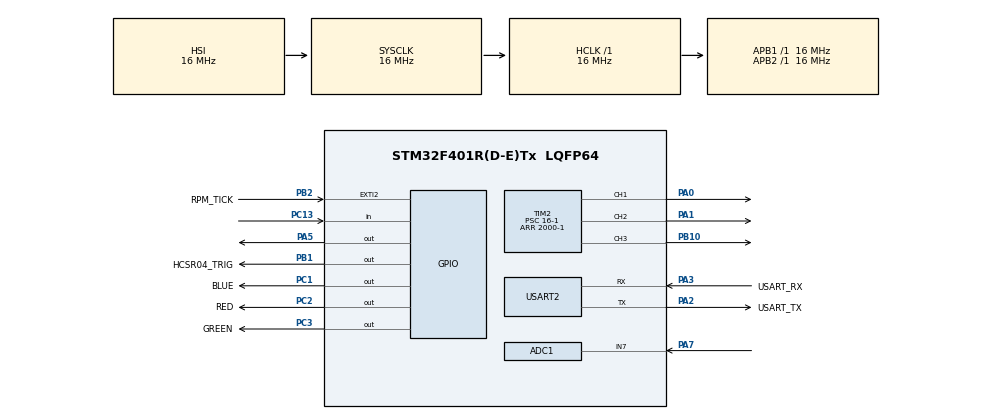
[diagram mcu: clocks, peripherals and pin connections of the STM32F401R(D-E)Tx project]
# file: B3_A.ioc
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ADC1.Channel-0\#ChannelRegularConversion=ADC_CHANNEL_7
ADC1.NbrOfConversionFlag=1
ADC1.Rank-0\#ChannelRegularConversion=1
ADC1.Resolution=ADC_RESOLUTION_8B
ADC1.SamplingTime-0\#ChannelRegularConversion=ADC_SAMPLETIME_3CYCLES
ADC1.ScanConvMode=ENABLE
ADC1.master=1
Mcu.Family=STM32F4
Mcu.Name=STM32F401R(D-E)Tx
Mcu.Package=LQFP64
NVIC.PriorityGroup=NVIC_PRIORITYGROUP_4
NVIC.TIM5_IRQn=true\:0\:0\:false\:false\:true\:true\:true\:true
NVIC.USART2_IRQn=true\:0\:0\:false\:false\:true\:true\:true\:true
PA0-WKUP.Signal=S_TIM2_CH1_ETR
PA1.Signal=S_TIM2_CH2
PA13.GPIO_Label=TMS
PA13.Mode=Trace_Asynchronous_SW
PA13.Signal=SYS_JTMS-SWDIO
PA14.GPIO_Label=TCK
PA14.Mode=Trace_Asynchronous_SW
PA14.Signal=SYS_JTCK-SWCLK
PA2.GPIO_Label=USART_TX
PA2.GPIO_Mode=GPIO_MODE_AF_PP
PA2.GPIO_PuPd=GPIO_NOPULL
PA2.GPIO_Speed=GPIO_SPEED_FREQ_LOW
PA2.Mode=Asynchronous
PA2.Signal=USART2_TX
PA3.GPIO_Label=USART_RX
PA3.GPIO_Mode=GPIO_MODE_AF_PP
PA3.GPIO_PuPd=GPIO_NOPULL
PA3.GPIO_Speed=GPIO_SPEED_FREQ_LOW
PA3.Mode=Asynchronous
PA3.Signal=USART2_RX
PA5.Signal=GPIO_Output
PA7.Signal=ADCx_IN7
PB1.GPIO_Label=HCSR04_TRIG
PB1.Signal=GPIO_Output
PB10.Signal=S_TIM2_CH3
PB2.GPIO_Label=RPM_TICK
PB2.Signal=GPXTI2
PB3.GPIO_Label=SWO
PB3.Mode=Trace_Asynchronous_SW
PB3.Signal=SYS_JTDO-SWO
PC1.GPIO_Label=BLUE
PC1.Signal=GPIO_Output
PC13-ANTI_TAMP.Signal=GPIO_Input
PC14-OSC32_IN.Mode=LSE-External-Oscillator
PC14-OSC32_IN.Signal=RCC_OSC32_IN
PC15-OSC32_OUT.Mode=LSE-External-Oscillator
PC15-OSC32_OUT.Signal=RCC_OSC32_OUT
PC2.GPIO_Label=RED
PC2.Signal=GPIO_Output
PC3.GPIO_Label=GREEN
PC3.Signal=GPIO_Output
PH0\ -\ OSC_IN.Mode=HSE-External-Clock-Source
PH0\ -\ OSC_IN.Signal=RCC_OSC_IN
PH1\ -\ OSC_OUT.Mode=HSE-External-Clock-Source
PH1\ -\ OSC_OUT.Signal=RCC_OSC_OUT
ProjectManager.HeapSize=0x200
ProjectManager.StackSize=0x400
ProjectManager.TargetToolchain=STM32CubeIDE
RCC.48MHZClocksFreq_Value=48000000
RCC.AHBFreq_Value=16000000
RCC.APB1Freq_Value=16000000
RCC.APB1TimFreq_Value=16000000
RCC.APB2Freq_Value=16000000
RCC.APB2TimFreq_Value=16000000
RCC.CortexFreq_Value=16000000
RCC.HCLKFreq_Value=16000000
RCC.HSE_VALUE=8000000
RCC.HSI_VALUE=16000000
RCC.PLLN=336
RCC.PLLP=RCC_PLLP_DIV4
RCC.PLLQ=7
RCC.SYSCLKFreq_VALUE=16000000
RCC.VCOOutputFreq_Value=336000000
SH.ADCx_IN7.0=ADC1_IN7,IN7
SH.S_TIM2_CH1_ETR.0=TIM2_CH1,PWM Generation1 CH1
SH.S_TIM2_CH2.0=TIM2_CH2,PWM Generation2 CH2
SH.S_TIM2_CH3.0=TIM2_CH3,PWM Generation3 CH3
TIM2.AutoReloadPreload=TIM_AUTORELOAD_PRELOAD_ENABLE
TIM2.Channel-PWM\ Generation1\ CH1=TIM_CHANNEL_1
TIM2.Channel-PWM\ Generation2\ CH2=TIM_CHANNEL_2
TIM2.Channel-PWM\ Generation3\ CH3=TIM_CHANNEL_3
TIM2.Period=2000-1
TIM2.Prescaler=16-1
TIM5.AutoReloadPreload=TIM_AUTORELOAD_PRELOAD_ENABLE
TIM5.Period=1000-1
TIM5.Prescaler=(16000-1)/300
USART2.VirtualMode=VM_ASYNC
VP_TIM2_VS_ClockSourceINT.Mode=Internal
VP_TIM5_VS_ClockSourceINT.Mode=Internal
board=NUCLEO-F401RE

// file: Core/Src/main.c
/* USER CODE BEGIN Header */
/**
  ******************************************************************************
  * @file           : main.c
  * @brief          : Main program body
  ******************************************************************************
  * @attention
  *
  * Copyright (c) 2025 STMicroelectronics.
  * All rights reserved.
  *
  * This software is licensed under terms that can be found in the LICENSE file
  * in the root directory of this software component.
  * If no LICENSE file comes with this software, it is provided AS-IS.
  *
  ******************************************************************************
  */
/* USER CODE END Header */
#include "main.h"

/* USER CODE BEGIN Includes */
volatile uint32_t rpm_tick_count = 0;
volatile uint32_t last_tick_time = 0;
volatile uint32_t rpm_tick_count_diff = 0;
volatile uint32_t rpm = 0;

/* USER CODE END Includes */

/* USER CODE BEGIN PD */
uint8_t byte;

uint8_t hour[2]; // Buffer for two characters of the hour
/* USER CODE END PD */

ADC_HandleTypeDef hadc1;

TIM_HandleTypeDef htim2;
TIM_HandleTypeDef htim5;

UART_HandleTypeDef huart2;

/* USER CODE BEGIN PV */

volatile uint8_t clock_hours = 0;
volatile uint8_t clock_mins = 0;
volatile uint8_t clock_secs = 0;
volatile uint8_t wall_clock_hr_update_flag = 0;

int pipeline_stage = 0;  // Current pipeline stage
int pipeline_positions[] = {1000, 1500, 2000, 2500};

uint8_t txd_msg_buffer[64] = {0};
/* USER CODE END PV */

void SystemClock_Config(void);
static void MX_GPIO_Init(void);
static void MX_USART2_UART_Init(void);
static void MX_TIM2_Init(void);
static void MX_ADC1_Init(void);
static void MX_TIM5_Init(void);
/* USER CODE BEGIN PFP */

static void ADC_Select_CH(int CH);
/* USER CODE END PFP */

/* USER CODE BEGIN 0 */
void ADC_Select_CH(int CH)
{
ADC_ChannelConfTypeDef sConfig = {0};
switch(CH)
{
case 0:
sConfig.Channel = ADC_CHANNEL_0;
sConfig.Rank = 1;
if (HAL_ADC_ConfigChannel(&hadc1, &sConfig) != HAL_OK)
{
Error_Handler();
}
break;
case 1:
sConfig.Channel = ADC_CHANNEL_1;
sConfig.Rank = 1;
if (HAL_ADC_ConfigChannel(&hadc1, &sConfig) != HAL_OK)
{
Error_Handler();
}
break;
case 2:
sConfig.Channel = ADC_CHANNEL_2;
sConfig.Rank = 1;
if (HAL_ADC_ConfigChannel(&hadc1, &sConfig) != HAL_OK)
{
Error_Handler();
}
break;
case 3:
sConfig.Channel = ADC_CHANNEL_3;
sConfig.Rank = 1;
if (HAL_ADC_ConfigChannel(&hadc1, &sConfig) != HAL_OK)
{
Error_Handler();
}
break;
case 4:
sConfig.Channel = ADC_CHANNEL_4;
sConfig.Rank = 1;
if (HAL_ADC_ConfigChannel(&hadc1, &sConfig) != HAL_OK)
{
Error_Handler();
}
break;
case 5:
sConfig.Channel = ADC_CHANNEL_5;
sConfig.Rank = 1;
if (HAL_ADC_ConfigChannel(&hadc1, &sConfig) != HAL_OK)
{
Error_Handler();
}
break;
case 6:
sConfig.Channel = ADC_CHANNEL_6;
sConfig.Rank = 1;
if (HAL_ADC_ConfigChannel(&hadc1, &sConfig) != HAL_OK)
{
Error_Handler();
}
break;
case 7:
sConfig.Channel = ADC_CHANNEL_7;
sConfig.Rank = 1;
if (HAL_ADC_ConfigChannel(&hadc1, &sConfig) != HAL_OK)
{
Error_Handler();
}
break;
case 8:
sConfig.Channel = ADC_CHANNEL_8;
sConfig.Rank = 1;
if (HAL_ADC_ConfigChannel(&hadc1, &sConfig) != HAL_OK)
{
Error_Handler();
}
break;
case 9:
sConfig.Channel = ADC_CHANNEL_9;
sConfig.Rank = 1;
if (HAL_ADC_ConfigChannel(&hadc1, &sConfig) != HAL_OK)
{
Error_Handler();
}
break;
case 10:
sConfig.Channel = ADC_CHANNEL_10;
sConfig.Rank = 1;
if (HAL_ADC_ConfigChannel(&hadc1, &sConfig) != HAL_OK)
{
Error_Handler();
}
break;
case 11:
sConfig.Channel = ADC_CHANNEL_11;
sConfig.Rank = 1;
if (HAL_ADC_ConfigChannel(&hadc1, &sConfig) != HAL_OK)
{
Error_Handler();
}
break;
case 12:
sConfig.Channel = ADC_CHANNEL_12;
sConfig.Rank = 1;
if (HAL_ADC_ConfigChannel(&hadc1, &sConfig) != HAL_OK)
{
Error_Handler();
}
break;
case 13:
sConfig.Channel = ADC_CHANNEL_13;
sConfig.Rank = 1;
if (HAL_ADC_ConfigChannel(&hadc1, &sConfig) != HAL_OK)
{
Error_Handler();
}
break;
case 14:
sConfig.Channel = ADC_CHANNEL_14;
sConfig.Rank = 1;
if (HAL_ADC_ConfigChannel(&hadc1, &sConfig) != HAL_OK)
{
Error_Handler();
}
break;
case 15:
sConfig.Channel = ADC_CHANNEL_15;
sConfig.Rank = 1;
if (HAL_ADC_ConfigChannel(&hadc1, &sConfig) != HAL_OK)
{
Error_Handler();
}
break;
}
}

int ADC_poll(){

	ADC_Select_CH(7);
	  HAL_ADC_Start(&hadc1);
	  HAL_ADC_PollForConversion(&hadc1, 1000);
	  uint8_t ADC_CH7 = HAL_ADC_GetValue(&hadc1);
	  HAL_ADC_Stop(&hadc1);
	return ADC_CH7;
}

//0 = purple, 1 = red, 2 = green, 3 = blue
void setledpin(int channel){
	switch(channel){
	case 0:
		HAL_GPIO_WritePin(RED_GPIO_Port, RED_Pin | BLUE_Pin | GREEN_Pin, GPIO_PIN_RESET);
		HAL_GPIO_WritePin(RED_GPIO_Port, RED_Pin | BLUE_Pin, GPIO_PIN_SET);
		break;
	case 1:
		HAL_GPIO_WritePin(RED_GPIO_Port, RED_Pin | BLUE_Pin | GREEN_Pin, GPIO_PIN_RESET);
		HAL_GPIO_WritePin(RED_GPIO_Port, RED_Pin, GPIO_PIN_SET);
		break;
	case 2:
		HAL_GPIO_WritePin(RED_GPIO_Port, RED_Pin | BLUE_Pin | GREEN_Pin, GPIO_PIN_RESET);
		HAL_GPIO_WritePin(RED_GPIO_Port, GREEN_Pin, GPIO_PIN_SET);
		break;
	case 3:
		HAL_GPIO_WritePin(RED_GPIO_Port, RED_Pin | BLUE_Pin | GREEN_Pin, GPIO_PIN_RESET);
		HAL_GPIO_WritePin(RED_GPIO_Port, BLUE_Pin, GPIO_PIN_SET);
		break;
	default:
		//error (only happens if channel val>3).
		HAL_GPIO_WritePin(RED_GPIO_Port, RED_Pin | BLUE_Pin | GREEN_Pin, GPIO_PIN_RESET);
		//HAL_GPIO_WritePin(RED_GPIO_Port, BLUE_Pin|RED_Pin|GREEN_Pin, GPIO_PIN_SET);
		break;
	}
}

void pipeMeter(int channel) {
	TIM2->CCR1 = pipeline_positions[channel];
}

uint8_t rcv_intpt_flag = 0;
void get_rpm(void) {
    // Calculate RPM only if we have more than 1 tick (at least 1 full rotation)
    if (rpm_tick_count >= 20) {  // Only calculate RPM once 20 ticks have been counted
        uint32_t current_time = HAL_GetTick();  // Current time in ms
        rpm_tick_count_diff = current_time - last_tick_time;  // Time difference in ms

        // Calculate RPM if the time difference is valid
        if (rpm_tick_count_diff > 0) {
            // RPM = (60,000 ms per minute) / (time for 1 full rotation in ms)
            rpm = 60000 / (rpm_tick_count_diff);  // Divide by 20 to account for 20 slots per rotation
        } else {
        	rpm = 0;
        }

        // Update the last tick time
        last_tick_time = current_time;

        // Reset the tick count for the next calculation cycle
        rpm_tick_count = 0;
    }

}
/* USER CODE END 0 */

int main(void)
{

  /* MCU Configuration--------------------------------------------------------*/

  /* Reset of all peripherals, Initializes the Flash interface and the Systick. */
  HAL_Init();

  /* Configure the system clock */
  SystemClock_Config();

  /* Initialize all configured peripherals */
  MX_GPIO_Init();
  MX_USART2_UART_Init();
  MX_TIM2_Init();
  MX_ADC1_Init();
  MX_TIM5_Init();
  /* USER CODE BEGIN 2 */
  HAL_TIM_Base_Init(&htim2);
  	HAL_TIM_PWM_Start(&htim2, TIM_CHANNEL_1);
    HAL_TIM_PWM_Start(&htim2, TIM_CHANNEL_2);
    HAL_TIM_PWM_Start(&htim2, TIM_CHANNEL_3);
    int TIM2_Ch1_DCVAL = 500;
    int TIM2_Ch1_STEP = 20;

    TIM2->PSC = 16-1;
    TIM2->ARR = 20000-1;
    TIM2->CCR1 = TIM2_Ch1_DCVAL;
    TIM2->CCR2 = 0;
    TIM2->CCR3 = 0;
    int TIM2_Ch2_DCVAL = 0;
    int TIM2_Ch3_DCVAL = 0;

  /* USER CODE END 2 */

  /* Infinite loop */
  /* USER CODE BEGIN WHILE */
  while (1)
  {

	  pipeMeter(0);
	  	  sprintf((char*)txd_msg_buffer, "\r\nEnter SETUP Parameters\r\n");
	  	  HAL_UART_Transmit(&huart2,txd_msg_buffer, strlen((char*)txd_msg_buffer), 1000);
	  	  //SETUP MODE BEGIN
	  	  uint8_t pipes[4];
	  	  int pumpPwms[4] = {0, 0, 0, 0};
	  	  int pwmSelect[4] = {0, 75, 85, 99};
	  	  int pwmRatios[4] = {0, 0, 0, 0};
	  	  int first_hours[4] = {0, 0, 0, 0};
	  	  int last_hours[4] = {0, 0, 0, 0};

	  	  //Get setup params
	  	  for(int i = 0; i < 4; i++) {
	  		  sprintf((char*)txd_msg_buffer, "\r\nPIPELINE (options: 0 to 3): ");
	  		  rcv_intpt_flag = 00;
	  		  HAL_UART_Receive_IT(&huart2,&byte,1);
	  		  HAL_UART_Transmit(&huart2,txd_msg_buffer, strlen((char*)txd_msg_buffer), 1000);
	  		  while(rcv_intpt_flag == (00)) {}
	  		  pipes[i] = byte - 48;
	  		  uint8_t pipeSelect = byte - 48;

	  		  sprintf((char*)txd_msg_buffer, "\r\nPump PWM (options 0 to 3): ");
	  		  rcv_intpt_flag = 00;
	  		  HAL_UART_Receive_IT(&huart2,&byte,1);
	  		  HAL_UART_Transmit(&huart2,txd_msg_buffer, strlen((char*)txd_msg_buffer), 1000);
	  		  while(rcv_intpt_flag == (00)) {}
	  		  pumpPwms[pipeSelect] = byte - 48;
	  		  pwmRatios[pipeSelect] = pwmSelect[byte - 48];
	  	  }
	  	  //sprintf((char*)txd_msg_buffer, "\r\nLOOP DONE %lu", byte - 48);
	  	   //HAL_UART_Transmit(&huart2,txd_msg_buffer, strlen((char*)txd_msg_buffer), 1000);

	  	  int pipe_times[4][3]; //4 slot array of 3 slot arrays
	  	  //each 3 slot array is of form: CHANNEL NAME, START TIME, END TIME

	  	  for(int i = 0; i < 4; i ++) {
	  	      int time_info[3];
	  	      time_info[0] = i;

	  		  sprintf((char*)txd_msg_buffer, "\r\nPipeline %d Pump FIRST HOUR (options: 00 to 23):  ", i);

	  			  HAL_UART_Transmit(&huart2,txd_msg_buffer, strlen((char*)txd_msg_buffer), 1000);
	  			  rcv_intpt_flag = 00;
	  			  HAL_UART_Receive_IT(&huart2,&byte,1);
	  			  while(rcv_intpt_flag == (00)) {}
	  			  first_hours[i] += (byte - 48) * 10;
	  			  time_info[1] = (byte - 48) * 10;

	  			  rcv_intpt_flag = 00;
	  			  HAL_UART_Receive_IT(&huart2,&byte,1);
	  			  while(rcv_intpt_flag == (00)) {}
	  			  first_hours[i] += byte - 48;
	  			  time_info[1] += byte - 48;

	  	        sprintf((char*)txd_msg_buffer, "\r\nPipeline %d Pump LAST HOUR (options: 00 to 23):  ", i);

	  			HAL_UART_Transmit(&huart2,txd_msg_buffer, strlen((char*)txd_msg_buffer), 1000);
	  	        rcv_intpt_flag = 00;
	  	        HAL_UART_Receive_IT(&huart2,&byte,1);
	  	        while(rcv_intpt_flag == (00)) {}
	  	        last_hours[i] = (byte - 48) * 10;
	  	        time_info[2] = (byte - 48) * 10;

	  	        rcv_intpt_flag = 00;
	  	        HAL_UART_Receive_IT(&huart2,&byte,1);
	  	        while(rcv_intpt_flag == (00)) {}
	  	        last_hours[i] += byte - 48;
	  			time_info[2] += byte - 48;

	  			memcpy(pipe_times[i], time_info, sizeof(time_info));
	  	        // You can use 'hour' for further processing, like validation or calculation
	  	    }
	  /*
	  	  for(int i = 0; i < 4; i++) {
	  	  		sprintf((char*)txd_msg_buffer, "\r\npipe %d, start: %d, end %d\r\n", pipe_times[i][0], pipe_times[i][1], pipe_times[i][2]);
	  	  		HAL_UART_Transmit(&huart2,txd_msg_buffer, strlen((char*)txd_msg_buffer), 1000);
	  	  	  }
	  */
	  	  //sort pipe_times
	  	  for(int i = 0; i < 3; i++) {
	  		  for(int j = i; j < 3; j ++) {
	  			  if(pipe_times[j][1] > pipe_times[j + 1][1]) {
	  				  int temp[3];
	  				  memcpy(temp, pipe_times[j], sizeof(pipe_times[j]));
	  				  memcpy(pipe_times[j], pipe_times[j + 1], sizeof(pipe_times[j + 1]));
	  				  memcpy(pipe_times[j + 1], temp, sizeof(temp));
	  			  }
	  		  }
	  	  }

	  /*
	  	  for(int i = 0; i < 4; i++) {
	  	  	  		sprintf((char*)txd_msg_buffer, "pipe %d, start: %d, end %d\r\n", pipe_times[i][0], pipe_times[i][1], pipe_times[i][2]);
	  	  	  		HAL_UART_Transmit(&huart2,txd_msg_buffer, strlen((char*)txd_msg_buffer), 1000);
	  	  	  	  }
	  */
	  	   sprintf((char*)txd_msg_buffer, "\r\n\r\n			Printing SETUP Parameters\r\n\r\n\r\n");
	  	   HAL_UART_Transmit(&huart2,txd_msg_buffer, strlen((char*)txd_msg_buffer), 1000);
	  	   for(int i = 0; i < 4; i++) {

	  	       sprintf((char*)txd_msg_buffer, "PIPELINE: %d    		Pump PWM: %d    		", i, pumpPwms[i]);
	  	       HAL_UART_Transmit(&huart2, txd_msg_buffer, strlen((char*)txd_msg_buffer), 1000);
	  	       sprintf((char*)txd_msg_buffer, "Pump FIRST HOUR: %d    		Pump LAST HOUR: %d\r\n",first_hours[i], last_hours[i]);
	  	       HAL_UART_Transmit(&huart2, txd_msg_buffer, strlen((char*)txd_msg_buffer), 1000);
	  	   }

	  		  sprintf((char*)txd_msg_buffer, "\r\n\r\nSETUP is done. Press Blue Button for RUN MODE");
	  		  	   HAL_UART_Transmit(&huart2,txd_msg_buffer, strlen((char*)txd_msg_buffer), 1000);

	  		  	   GPIO_PinState buttonState = HAL_GPIO_ReadPin(GPIOC, GPIO_PIN_13);
	  		  	   volatile int flag = GPIO_PIN_SET;
	  		  	   while(buttonState != GPIO_PIN_RESET) {
	  		  		   buttonState = HAL_GPIO_ReadPin(GPIOC, GPIO_PIN_13);
	  		  		   if(flag == GPIO_PIN_SET) {
	  		  			   HAL_GPIO_WritePin(GPIOA, GPIO_PIN_5, GPIO_PIN_SET);
	  		  			   flag = GPIO_PIN_RESET;
	  		  		   } else {
	  		  			   HAL_GPIO_WritePin(GPIOA, GPIO_PIN_5, GPIO_PIN_RESET);
	  		  			   flag = GPIO_PIN_SET;
	  		  		   }
	  		  		   HAL_Delay(125);
	  		  	   }
	  		  	   int zeroRatio = ADC_poll() * 100 / 233;

	  		  	   for(int i = 0; i < 4; i++) {
	  		  		   if(pwmRatios[i] == 0) {
	  		  			 pwmRatios[i] = zeroRatio;
	  		  		   }
	  		  	   }

	  		  	   HAL_GPIO_WritePin(GPIOA, GPIO_PIN_5, GPIO_PIN_SET);
	  		  	   sprintf((char*)txd_msg_buffer, "\r\n\r\n\r\n			RUN MODE\r\n");
	  		  	   	   HAL_UART_Transmit(&huart2,txd_msg_buffer, strlen((char*)txd_msg_buffer), 1000);
	  		  	   // SETUP MODE END

	  		  	   // RUN MODE START
	  		  	   	   for(int i = 0; i < 4; i++) {
	  		  	   		sprintf((char*)txd_msg_buffer, "pwmRatios[%d] = %d\r\n", i, pwmRatios[i]);
	  		  	   		HAL_UART_Transmit(&huart2,txd_msg_buffer, strlen((char*)txd_msg_buffer), 1000);
	  		  	   	   }
	  		  	   sprintf((char*)txd_msg_buffer, "\r\n CLOCK : PIPE : PWM : RPM : DEPTH :\r\n");
	  		  	   HAL_UART_Transmit(&huart2,txd_msg_buffer, strlen((char*)txd_msg_buffer), 1000);
	  		  	   sprintf((char*)txd_msg_buffer, "---------------------------------------------\r\n");
	  		  	   	   HAL_UART_Transmit(&huart2,txd_msg_buffer, strlen((char*)txd_msg_buffer), 1000);

	  		  	       clock_hours = 0;
	  		  	       clock_mins = 0;
	  		  	       clock_secs = 0;
	  			  	   HAL_TIM_Base_Start_IT(&htim5);
	  			  	   int current = 0;
	  			  	 TIM2->CCR3 = 600 * pwmRatios[0];
	  			  	 setledpin(0);
	  		  	   	while(clock_hours <= 26) {
	  		  	   	get_rpm();
	  			  	   	if(wall_clock_hr_update_flag && clock_mins == 0 && clock_hours < 26 && clock_secs == 0) {
	  			  	   			  sprintf((char*)txd_msg_buffer, " %d	:", clock_hours - 1);
	  			  	   			  HAL_UART_Transmit(&huart2, txd_msg_buffer, strlen((char*)txd_msg_buffer), 1000);
	  			  	   			  wall_clock_hr_update_flag = 0;

	  			  	   			  int current_channel = pipe_times[current][0];
	  			  	   			  int is_invalid = 0;
	  			  	   			  if(clock_hours - 1 >= pipe_times[current][1] && clock_hours - 1<= pipe_times[current][2]) {
	  				  	   			  sprintf((char*)txd_msg_buffer, "	%d  :", pipe_times[current][0]);
	  				  	   			  HAL_UART_Transmit(&huart2, txd_msg_buffer, strlen((char*)txd_msg_buffer), 1000);
	  				  	   			  //TIM2->CCR2 = 600 * pwmSelect[pipe_times[current][0]];
	  			  	   			  } else if(clock_hours - 1>= pipe_times[current + 1][1] && clock_hours <= pipe_times[3][2]) {
	  				  	   			  //sprintf((char*)txd_msg_buffer, "WE ARE MOVING TO THE NEXT PIPE\r\n");
	  				  	   			  //HAL_UART_Transmit(&huart2, txd_msg_buffer, strlen((char*)txd_msg_buffer), 1000);
	  			  	   				  TIM2->CCR3 = 0;
	  			  	   				  current++;
	  			  	   				current_channel = pipe_times[current][0];
	  				  	   			  sprintf((char*)txd_msg_buffer, "	%d  :", pipe_times[current][0]);
	  				  	   			  TIM2->CCR2 = 600 * pwmRatios[pipe_times[current][0]];
	  				  	   			  HAL_UART_Transmit(&huart2, txd_msg_buffer, strlen((char*)txd_msg_buffer), 1000);
	  				  	   			  setledpin(current_channel);
	  				  	   			  pipeMeter(current_channel);
	  			  	   			  } else {
	  				  	   			  sprintf((char*)txd_msg_buffer, "	   :", pipe_times[current][0]);
	  				  	   			  HAL_UART_Transmit(&huart2, txd_msg_buffer, strlen((char*)txd_msg_buffer), 1000);
	  				  	   			  is_invalid++;
	  				  	   			  TIM2->CCR3 = 0;
	  				  	   			  TIM2->CCR2 = 0;
	  				  	   			  setledpin(4);
	  			  	   			  }
	  			  	   			  //get_rpm();

	  			  	   			if(!is_invalid) {
	  				  	   			sprintf((char*)txd_msg_buffer, "  %d  :\r\n", pumpPwms[current_channel]);
	  				  	   			HAL_UART_Transmit(&huart2, txd_msg_buffer, strlen((char*)txd_msg_buffer), 1000);
	  			  	   			} else {
	  				  	   			sprintf((char*)txd_msg_buffer, "     :\r\n", pumpPwms[current_channel]);
	  				  	   			HAL_UART_Transmit(&huart2, txd_msg_buffer, strlen((char*)txd_msg_buffer), 1000);

	  			  	   			}
	  			  	   		sprintf((char*)txd_msg_buffer, " We have CCR2 value of: %d, PWM Percentage: %d\r\n", TIM2->CCR2, pwmRatios[pipe_times[current][0]]);
	  			  	   		HAL_UART_Transmit(&huart2, txd_msg_buffer, strlen((char*)txd_msg_buffer), 1000);
	  			  	   		if(is_invalid) {
	  			  	   			rpm = 0;
	  			  	   		} else {
	  				  	   		//get_rpm();
	  			  	   		}
	  				        sprintf((char*)txd_msg_buffer, " Current RPM: %lu \r \n", rpm);
	  				        HAL_UART_Transmit(&huart2, txd_msg_buffer, strlen((char*)txd_msg_buffer), 1000);

	  			  	   	}

	  		  	   	}
	  		  	   	TIM2->CCR2 = 0;
	  		  	   	pipeMeter(0);
	    	   			sprintf((char*)txd_msg_buffer, "\r\n\r\n     irrigation complete \r\n");
	    	   			HAL_UART_Transmit(&huart2, txd_msg_buffer, strlen((char*)txd_msg_buffer), 1000);

	    	   			while(1) {};
    /* USER CODE END WHILE */

  }
}

void SystemClock_Config(void)
{
  RCC_OscInitTypeDef RCC_OscInitStruct = {0};
  RCC_ClkInitTypeDef RCC_ClkInitStruct = {0};

  /** Configure the main internal regulator output voltage
  */
  __HAL_RCC_PWR_CLK_ENABLE();
  __HAL_PWR_VOLTAGESCALING_CONFIG(PWR_REGULATOR_VOLTAGE_SCALE2);

  /** Initializes the RCC Oscillators according to the specified parameters
  * in the RCC_OscInitTypeDef structure.
  */
  RCC_OscInitStruct.OscillatorType = RCC_OSCILLATORTYPE_HSI;
  RCC_OscInitStruct.HSIState = RCC_HSI_ON;
  RCC_OscInitStruct.HSICalibrationValue = RCC_HSICALIBRATION_DEFAULT;
  RCC_OscInitStruct.PLL.PLLState = RCC_PLL_NONE;
  if (HAL_RCC_OscConfig(&RCC_OscInitStruct) != HAL_OK)
  {
    Error_Handler();
  }

  /** Initializes the CPU, AHB and APB buses clocks
  */
  RCC_ClkInitStruct.ClockType = RCC_CLOCKTYPE_HCLK|RCC_CLOCKTYPE_SYSCLK
                              |RCC_CLOCKTYPE_PCLK1|RCC_CLOCKTYPE_PCLK2;
  RCC_ClkInitStruct.SYSCLKSource = RCC_SYSCLKSOURCE_HSI;
  RCC_ClkInitStruct.AHBCLKDivider = RCC_SYSCLK_DIV1;
  RCC_ClkInitStruct.APB1CLKDivider = RCC_HCLK_DIV1;
  RCC_ClkInitStruct.APB2CLKDivider = RCC_HCLK_DIV1;

  if (HAL_RCC_ClockConfig(&RCC_ClkInitStruct, FLASH_LATENCY_0) != HAL_OK)
  {
    Error_Handler();
  }
}

static void MX_ADC1_Init(void)
{

  ADC_ChannelConfTypeDef sConfig = {0};

  /** Configure the global features of the ADC (Clock, Resolution, Data Alignment and number of conversion)
  */
  hadc1.Instance = ADC1;
  hadc1.Init.ClockPrescaler = ADC_CLOCK_SYNC_PCLK_DIV2;
  hadc1.Init.Resolution = ADC_RESOLUTION_8B;
  hadc1.Init.ScanConvMode = ENABLE;
  hadc1.Init.ContinuousConvMode = DISABLE;
  hadc1.Init.DiscontinuousConvMode = DISABLE;
  hadc1.Init.ExternalTrigConvEdge = ADC_EXTERNALTRIGCONVEDGE_NONE;
  hadc1.Init.ExternalTrigConv = ADC_SOFTWARE_START;
  hadc1.Init.DataAlign = ADC_DATAALIGN_RIGHT;
  hadc1.Init.NbrOfConversion = 1;
  hadc1.Init.DMAContinuousRequests = DISABLE;
  hadc1.Init.EOCSelection = ADC_EOC_SINGLE_CONV;
  if (HAL_ADC_Init(&hadc1) != HAL_OK)
  {
    Error_Handler();
  }

  /** Configure for the selected ADC regular channel its corresponding rank in the sequencer and its sample time.
  */
  sConfig.Channel = ADC_CHANNEL_7;
  sConfig.Rank = 1;
  sConfig.SamplingTime = ADC_SAMPLETIME_3CYCLES;
  if (HAL_ADC_ConfigChannel(&hadc1, &sConfig) != HAL_OK)
  {
    Error_Handler();
  }

}

static void MX_TIM2_Init(void)
{

  TIM_ClockConfigTypeDef sClockSourceConfig = {0};
  TIM_MasterConfigTypeDef sMasterConfig = {0};
  TIM_OC_InitTypeDef sConfigOC = {0};

  htim2.Instance = TIM2;
  htim2.Init.Prescaler = 16-1;
  htim2.Init.CounterMode = TIM_COUNTERMODE_UP;
  htim2.Init.Period = 2000-1;
  htim2.Init.ClockDivision = TIM_CLOCKDIVISION_DIV1;
  htim2.Init.AutoReloadPreload = TIM_AUTORELOAD_PRELOAD_ENABLE;
  if (HAL_TIM_Base_Init(&htim2) != HAL_OK)
  {
    Error_Handler();
  }
  sClockSourceConfig.ClockSource = TIM_CLOCKSOURCE_INTERNAL;
  if (HAL_TIM_ConfigClockSource(&htim2, &sClockSourceConfig) != HAL_OK)
  {
    Error_Handler();
  }
  if (HAL_TIM_PWM_Init(&htim2) != HAL_OK)
  {
    Error_Handler();
  }
  sMasterConfig.MasterOutputTrigger = TIM_TRGO_RESET;
  sMasterConfig.MasterSlaveMode = TIM_MASTERSLAVEMODE_DISABLE;
  if (HAL_TIMEx_MasterConfigSynchronization(&htim2, &sMasterConfig) != HAL_OK)
  {
    Error_Handler();
  }
  sConfigOC.OCMode = TIM_OCMODE_PWM1;
  sConfigOC.Pulse = 0;
  sConfigOC.OCPolarity = TIM_OCPOLARITY_HIGH;
  sConfigOC.OCFastMode = TIM_OCFAST_DISABLE;
  if (HAL_TIM_PWM_ConfigChannel(&htim2, &sConfigOC, TIM_CHANNEL_1) != HAL_OK)
  {
    Error_Handler();
  }
  if (HAL_TIM_PWM_ConfigChannel(&htim2, &sConfigOC, TIM_CHANNEL_2) != HAL_OK)
  {
    Error_Handler();
  }
  if (HAL_TIM_PWM_ConfigChannel(&htim2, &sConfigOC, TIM_CHANNEL_3) != HAL_OK)
  {
    Error_Handler();
  }
  HAL_TIM_MspPostInit(&htim2);

}

static void MX_TIM5_Init(void)
{

  TIM_ClockConfigTypeDef sClockSourceConfig = {0};
  TIM_MasterConfigTypeDef sMasterConfig = {0};

  htim5.Instance = TIM5;
  htim5.Init.Prescaler = (16000-1)/300;
  htim5.Init.CounterMode = TIM_COUNTERMODE_UP;
  htim5.Init.Period = 1000-1;
  htim5.Init.ClockDivision = TIM_CLOCKDIVISION_DIV1;
  htim5.Init.AutoReloadPreload = TIM_AUTORELOAD_PRELOAD_ENABLE;
  if (HAL_TIM_Base_Init(&htim5) != HAL_OK)
  {
    Error_Handler();
  }
  sClockSourceConfig.ClockSource = TIM_CLOCKSOURCE_INTERNAL;
  if (HAL_TIM_ConfigClockSource(&htim5, &sClockSourceConfig) != HAL_OK)
  {
    Error_Handler();
  }
  sMasterConfig.MasterOutputTrigger = TIM_TRGO_RESET;
  sMasterConfig.MasterSlaveMode = TIM_MASTERSLAVEMODE_DISABLE;
  if (HAL_TIMEx_MasterConfigSynchronization(&htim5, &sMasterConfig) != HAL_OK)
  {
    Error_Handler();
  }

}

static void MX_USART2_UART_Init(void)
{

  huart2.Instance = USART2;
  huart2.Init.BaudRate = 115200;
  huart2.Init.WordLength = UART_WORDLENGTH_8B;
  huart2.Init.StopBits = UART_STOPBITS_1;
  huart2.Init.Parity = UART_PARITY_NONE;
  huart2.Init.Mode = UART_MODE_TX_RX;
  huart2.Init.HwFlowCtl = UART_HWCONTROL_NONE;
  huart2.Init.OverSampling = UART_OVERSAMPLING_16;
  if (HAL_UART_Init(&huart2) != HAL_OK)
  {
    Error_Handler();
  }

}

static void MX_GPIO_Init(void)
{
  GPIO_InitTypeDef GPIO_InitStruct = {0};

  /* GPIO Ports Clock Enable */
  __HAL_RCC_GPIOC_CLK_ENABLE();
  __HAL_RCC_GPIOH_CLK_ENABLE();
  __HAL_RCC_GPIOA_CLK_ENABLE();
  __HAL_RCC_GPIOB_CLK_ENABLE();

  /*Configure GPIO pin Output Level */
  HAL_GPIO_WritePin(GPIOC, BLUE_Pin|RED_Pin|GREEN_Pin, GPIO_PIN_RESET);

  /*Configure GPIO pin Output Level */
  HAL_GPIO_WritePin(GPIOA, GPIO_PIN_5, GPIO_PIN_RESET);

  /*Configure GPIO pin Output Level */
  HAL_GPIO_WritePin(HCSR04_TRIG_GPIO_Port, HCSR04_TRIG_Pin, GPIO_PIN_RESET);

  /*Configure GPIO pin : PC13 */
  GPIO_InitStruct.Pin = GPIO_PIN_13;
  GPIO_InitStruct.Mode = GPIO_MODE_INPUT;
  GPIO_InitStruct.Pull = GPIO_NOPULL;
  HAL_GPIO_Init(GPIOC, &GPIO_InitStruct);

  /*Configure GPIO pins : BLUE_Pin RED_Pin GREEN_Pin */
  GPIO_InitStruct.Pin = BLUE_Pin|RED_Pin|GREEN_Pin;
  GPIO_InitStruct.Mode = GPIO_MODE_OUTPUT_PP;
  GPIO_InitStruct.Pull = GPIO_NOPULL;
  GPIO_InitStruct.Speed = GPIO_SPEED_FREQ_LOW;
  HAL_GPIO_Init(GPIOC, &GPIO_InitStruct);

  /*Configure GPIO pin : PA5 */
  GPIO_InitStruct.Pin = GPIO_PIN_5;
  GPIO_InitStruct.Mode = GPIO_MODE_OUTPUT_PP;
  GPIO_InitStruct.Pull = GPIO_NOPULL;
  GPIO_InitStruct.Speed = GPIO_SPEED_FREQ_LOW;
  HAL_GPIO_Init(GPIOA, &GPIO_InitStruct);

  /*Configure GPIO pin : HCSR04_TRIG_Pin */
  GPIO_InitStruct.Pin = HCSR04_TRIG_Pin;
  GPIO_InitStruct.Mode = GPIO_MODE_OUTPUT_PP;
  GPIO_InitStruct.Pull = GPIO_NOPULL;
  GPIO_InitStruct.Speed = GPIO_SPEED_FREQ_LOW;
  HAL_GPIO_Init(HCSR04_TRIG_GPIO_Port, &GPIO_InitStruct);

  /*Configure GPIO pin : RPM_TICK_Pin */
  GPIO_InitStruct.Pin = RPM_TICK_Pin;
  GPIO_InitStruct.Mode = GPIO_MODE_IT_RISING;
  GPIO_InitStruct.Pull = GPIO_NOPULL;
  HAL_GPIO_Init(RPM_TICK_GPIO_Port, &GPIO_InitStruct);

}

/* USER CODE BEGIN 4 */
void HAL_UART_RxCpltCallback(UART_HandleTypeDef *huart) {
	if(huart->Instance == USART2) {
		HAL_UART_Transmit(&huart2, &byte, 1, 100);
		rcv_intpt_flag = 1;
	}
}

void get_hour_input(uint8_t *hour) {
    // Receive the first character (tens place)
    rcv_intpt_flag = 00;
    HAL_UART_Receive_IT(&huart2, &hour[0], 1); // Receive first digit
    while(rcv_intpt_flag == (00)) {}

    // Receive the second character (ones place)
    rcv_intpt_flag = 00;
    HAL_UART_Receive_IT(&huart2, &hour[1], 1); // Receive second digit
    while(rcv_intpt_flag == (00)) {}

    // Optional: Print the received hour (for debug purposes)
    char debug_msg[64];
    sprintf(debug_msg, "Received hour: %c%c\r\n", hour[0], hour[1]);
    HAL_UART_Transmit(&huart2, (uint8_t*)debug_msg, strlen(debug_msg), 1000);

    // Convert the two characters into an integer (for example, "12" -> 12)
    *hour = (hour[0] - '0') * 10 + (hour[1] - '0');
}
void HAL_TIM_PeriodElapsedCallback(TIM_HandleTypeDef *htim) {
	if((htim->Instance == TIM5)) {
		wall_clock_hr_update_flag = 0;
		clock_secs += 2;

		if((clock_secs == 60)) {
			clock_mins += 1;
			clock_secs = 0;

			if((clock_mins == 60)) {
				clock_hours += 1;
				clock_mins = 0;
			}
			wall_clock_hr_update_flag = 1;
		}
	}
}
void HAL_GPIO_EXTI_Callback(uint16_t GPIO_Pin) {
	if(GPIO_Pin == RPM_TICK_Pin) {
		rpm_tick_count += 1;
	}
}
/* USER CODE END 4 */

void Error_Handler(void)
{
  __disable_irq();
  while (1)
  {
  }
}
